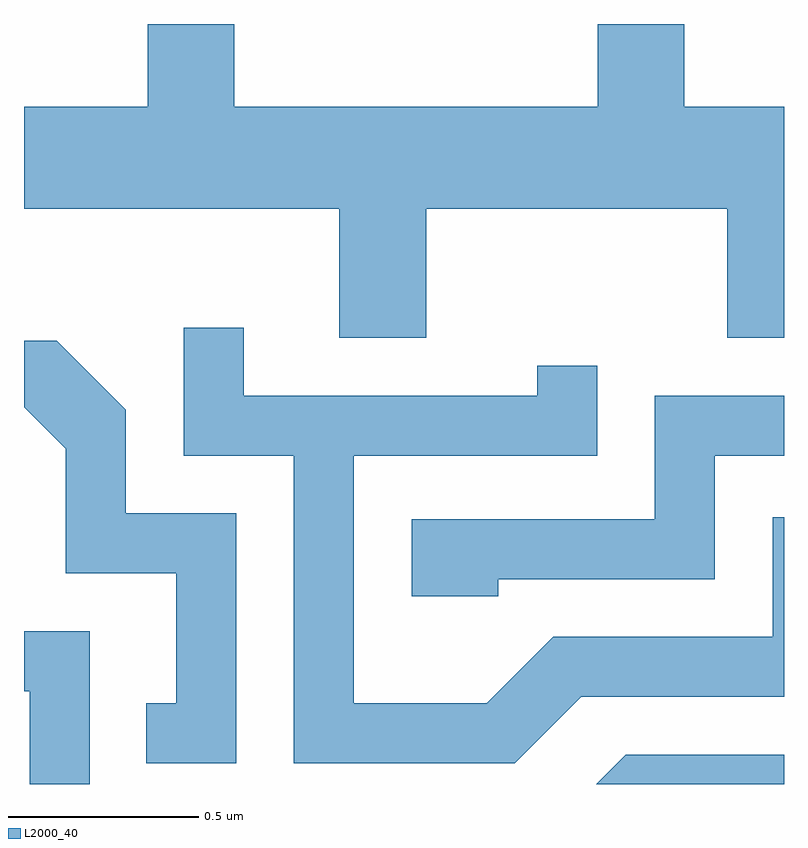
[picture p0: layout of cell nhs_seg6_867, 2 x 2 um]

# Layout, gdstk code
import gdstk
lib = gdstk.Library(unit=1e-6, precision=1e-09)
def P(c, l, *ps):  # polygons
    for p in ps: c.add(gdstk.Polygon(p, *l))
L2000_40 = (2000, 40)

nhs_seg6_867 = lib.new_cell('nhs_seg6_867')
P(nhs_seg6_867, L2000_40, [(192.669,1576.676),(193.461,1576.676),(193.461,1576.336),(193.611,1576.336),(193.611,1576.944),(193.349,1576.944),(193.349,1577.162),(193.121,1577.162),(193.121,1576.944),(192.164,1576.944),(192.164,1577.162),(191.936,1577.162),(191.936,1576.944),(191.611,1576.944),(191.611,1576.676),(192.441,1576.676),(192.441,1576.336),(192.669,1576.336)],
  [(193.077,1575.391),(193.611,1575.391),(193.611,1575.864),(193.581,1575.864),(193.581,1575.549),(193.004,1575.549),(192.829,1575.374),(192.479,1575.374),(192.479,1576.026),(193.119,1576.026),(193.119,1576.263),(192.961,1576.263),(192.961,1576.184),(192.189,1576.184),(192.189,1576.363),(192.031,1576.363),(192.031,1576.026),(192.321,1576.026),(192.321,1575.216),(192.902,1575.216)],
  [(192.169,1575.874),(191.879,1575.874),(191.879,1576.147),(191.697,1576.329),(191.611,1576.329),(191.611,1576.154),(191.721,1576.044),(191.721,1575.716),(192.011,1575.716),(192.011,1575.374),(191.933,1575.374),(191.933,1575.216),(192.169,1575.216)],
  [(192.859,1575.701),(193.429,1575.701),(193.429,1576.026),(193.611,1576.026),(193.611,1576.184),(193.271,1576.184),(193.271,1575.859),(192.631,1575.859),(192.631,1575.656),(192.859,1575.656)],
  [(191.784,1575.564),(191.611,1575.564),(191.611,1575.406),(191.626,1575.406),(191.626,1575.162),(191.784,1575.162)],
  [(193.611,1575.239),(193.194,1575.239),(193.117,1575.162),(193.611,1575.162)])

lib.write_gds('nhs_seg6_867.gds')
